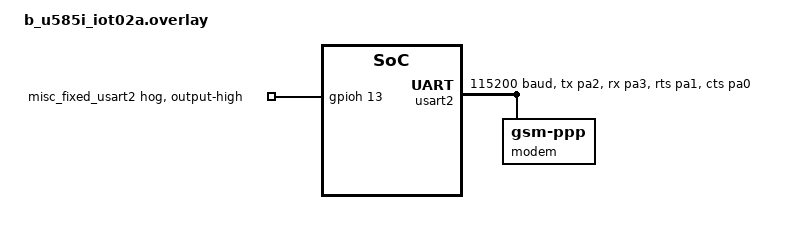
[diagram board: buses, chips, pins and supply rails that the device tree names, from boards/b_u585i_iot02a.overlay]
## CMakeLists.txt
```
# SPDX-License-Identifier: Apache-2.0

cmake_minimum_required(VERSION 3.20.0)

find_package(Zephyr REQUIRED HINTS $ENV{ZEPHYR_BASE})
project(gsm_modem)

target_sources(app PRIVATE src/main.c)
```

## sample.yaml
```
common:
  harness: net
  depends_on: serial-net
  tags:
    - net
    - ppp
    - modem
    - gsm
  platform_allow: frdm_k64f
  extra_args: DTC_OVERLAY_FILE="boards/frdm_uart2_dts.overlay"
sample:
  description: Sample for generic GSM modem
  name: Generic GSM modem using PPP
tests:
  sample.net.ppp.gsm.modem:
    extra_configs:
      - CONFIG_TEST_RANDOM_GENERATOR=y
  sample.net.ppp.gsm.modem.mux:
    extra_configs:
      - CONFIG_TEST_RANDOM_GENERATOR=y
      - CONFIG_GSM_MUX=y
      - CONFIG_UART_MUX=y
```

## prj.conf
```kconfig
# UART support
CONFIG_SERIAL=y

# GSM modem support
CONFIG_MODEM=y
CONFIG_MODEM_GSM_PPP=y

# PPP networking support
CONFIG_NET_DRIVERS=y
CONFIG_NET_PPP=y
CONFIG_NET_L2_PPP=y
CONFIG_NET_NATIVE=y
CONFIG_NETWORKING=y

CONFIG_NET_L2_PPP_TIMEOUT=10000

# IPv4 enables PPP IPCP support
CONFIG_NET_IPV4=y
CONFIG_NET_IPV6=n

# Network management events
CONFIG_NET_CONNECTION_MANAGER=y

# Log buffers, modem and PPP
CONFIG_LOG=y
CONFIG_NET_LOG=y
#CONFIG_LOG_BUFFER_SIZE=16384
#CONFIG_MODEM_LOG_LEVEL_DBG=y
#CONFIG_NET_PPP_LOG_LEVEL_DBG=y
#CONFIG_NET_L2_PPP_LOG_LEVEL_DBG=y
#CONFIG_NET_MGMT_EVENT_LOG_LEVEL_DBG=y
#CONFIG_NET_CONNECTION_MANAGER_LOG_LEVEL_DBG=y

CONFIG_NET_SHELL=y
CONFIG_MODEM_SHELL=y
```

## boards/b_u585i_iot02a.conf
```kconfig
CONFIG_TEST_RANDOM_GENERATOR=y
CONFIG_GSM_MUX=y
CONFIG_UART_MUX=y
CONFIG_MODEM_GSM_APN="internet"
CONFIG_MAIN_STACK_SIZE=8192
CONFIG_MODEM_GSM_QUECTEL=y
CONFIG_MODEM_SHELL=n
CONFIG_NET_MGMT_EVENT_INFO=y
CONFIG_NET_MGMT_EVENT_MONITOR=y
CONFIG_NET_MGMT_EVENT_MONITOR_AUTO_START=y
CONFIG_NET_LOG=y
CONFIG_NET_MGMT_EVENT_LOG_LEVEL_DBG=y
```

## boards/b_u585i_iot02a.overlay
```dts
/ {
	aliases {
		modem-uart = &usart2;
		modem = &modem;
	};
};

&gpioh {
	misc_fixed_usart2 {
		gpio-hog;
		gpios = <13 GPIO_ACTIVE_HIGH>;
		output-high;
	};
};

&gpdma1 {
	status = "okay";
};

/* BG95 */
&usart2 {
	pinctrl-0 = <&usart2_tx_pa2 &usart2_rx_pa3 &usart2_rts_pa1 &usart2_cts_pa0>;
	pinctrl-names = "default";
	current-speed = <115200>;
	hw-flow-control;

	dmas = <&gpdma1 0 27 STM32_DMA_PERIPH_TX
		&gpdma1 1 26 STM32_DMA_PERIPH_RX>;
	dma-names = "tx", "rx";

	status = "okay";

	modem: modem {
		compatible = "zephyr,gsm-ppp";
		status = "okay";
	};
};
```

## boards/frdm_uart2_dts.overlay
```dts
/*
 * UART 2 is configured on FRDM pins PTD0, rts; PTD1, cts; PTD2, rx; PTD3, tx
 * see https://www.nxp.com/docs/en/data-sheet/K64P144M120SF5.pdf chapter 5.1,
 * page 74
 */
&uart2 {
	status = "okay";
	current-speed = <115200>;
	gsm: gsm-modem {
		compatible = "zephyr,gsm-ppp";
	};
};
```

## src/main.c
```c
/*
 * Copyright (c) 2020, Intel Corporation
 *
 * SPDX-License-Identifier: Apache-2.0
 */

#include <zephyr/kernel.h>
#include <zephyr/sys/printk.h>
#include <zephyr/shell/shell.h>
#include <zephyr/drivers/uart.h>
#include <zephyr/net/net_mgmt.h>
#include <zephyr/net/net_event.h>
#include <zephyr/net/conn_mgr_monitor.h>
#include <zephyr/drivers/modem/gsm_ppp.h>
#include <zephyr/devicetree.h>

#include <zephyr/logging/log.h>
LOG_MODULE_REGISTER(sample_gsm_ppp, LOG_LEVEL_DBG);

#define GSM_MODEM_NODE DT_COMPAT_GET_ANY_STATUS_OKAY(zephyr_gsm_ppp)
#define UART_NODE DT_BUS(GSM_MODEM_NODE)

static const struct device *const gsm_dev = DEVICE_DT_GET(GSM_MODEM_NODE);
static struct net_mgmt_event_callback mgmt_cb;
static bool starting = IS_ENABLED(CONFIG_GSM_PPP_AUTOSTART);

static int cmd_sample_modem_suspend(const struct shell *sh,
				    size_t argc, char *argv[])
{
	ARG_UNUSED(argc);
	ARG_UNUSED(argv);

	if (!starting) {
		shell_fprintf(sh, SHELL_NORMAL, "Modem is already stopped.\n");
		return -ENOEXEC;
	}

	gsm_ppp_stop(gsm_dev);
	starting = false;

	return 0;
}

static int cmd_sample_modem_resume(const struct shell *sh,
				   size_t argc, char *argv[])
{
	ARG_UNUSED(argc);
	ARG_UNUSED(argv);

	if (starting) {
		shell_fprintf(sh, SHELL_NORMAL, "Modem is already started.\n");
		return -ENOEXEC;
	}

	gsm_ppp_start(gsm_dev);
	starting = true;

	return 0;
}

SHELL_STATIC_SUBCMD_SET_CREATE(sample_commands,
	SHELL_CMD(resume, NULL,
		  "Resume the modem\n",
		  cmd_sample_modem_resume),
	SHELL_CMD(suspend, NULL,
		  "Suspend the modem\n",
		  cmd_sample_modem_suspend),
	SHELL_SUBCMD_SET_END
);

SHELL_CMD_REGISTER(sample, &sample_commands,
		   "Sample application commands", NULL);


static void event_handler(struct net_mgmt_event_callback *cb,
			  uint32_t mgmt_event, struct net_if *iface)
{
	ARG_UNUSED(cb);
	ARG_UNUSED(iface);

	if ((mgmt_event & (NET_EVENT_L4_CONNECTED
			   | NET_EVENT_L4_DISCONNECTED)) != mgmt_event) {
		return;
	}

	if (mgmt_event == NET_EVENT_L4_CONNECTED) {
		LOG_INF("Network connected");
		return;
	}

	if (mgmt_event == NET_EVENT_L4_DISCONNECTED) {
		LOG_INF("Network disconnected");
		return;
	}
}

static void modem_on_cb(const struct device *dev, void *user_data)
{
	ARG_UNUSED(dev);
	ARG_UNUSED(user_data);

	LOG_INF("GSM modem on callback fired");
}

static void modem_off_cb(const struct device *dev, void *user_data)
{
	ARG_UNUSED(dev);
	ARG_UNUSED(user_data);

	LOG_INF("GSM modem off callback fired");
}

int main(void)
{
	const struct device *const uart_dev = DEVICE_DT_GET(UART_NODE);

	/* Optional register modem power callbacks */
	gsm_ppp_register_modem_power_callback(gsm_dev, modem_on_cb, modem_off_cb, NULL);

	LOG_INF("Board '%s' APN '%s' UART '%s' device %p (%s)",
		CONFIG_BOARD, CONFIG_MODEM_GSM_APN,
		uart_dev->name, uart_dev, gsm_dev->name);

	net_mgmt_init_event_callback(&mgmt_cb, event_handler,
				     NET_EVENT_L4_CONNECTED |
				     NET_EVENT_L4_DISCONNECTED);
	net_mgmt_add_event_callback(&mgmt_cb);

	return 0;
}
```
